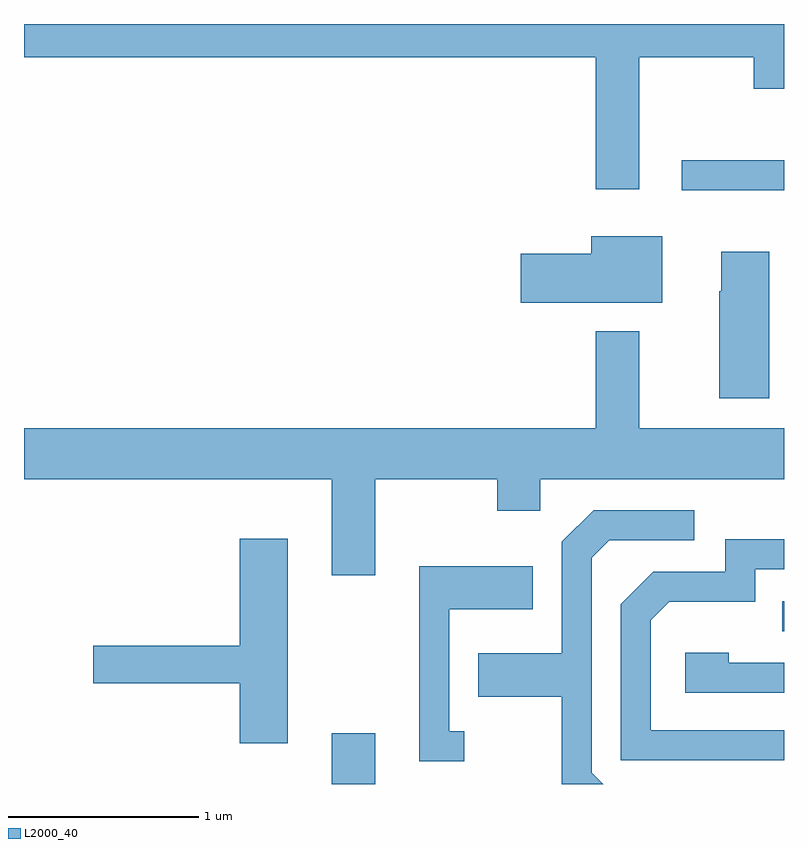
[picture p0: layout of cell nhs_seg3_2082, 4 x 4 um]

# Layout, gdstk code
import gdstk
lib = gdstk.Library(unit=1e-6, precision=1e-09)
def R(c, l, rs):  # rectangles x0, y0, x1, y1
    for r in rs: c.add(gdstk.rectangle(r[:2], r[2:], *l))
def P(c, l, *ps):  # polygons
    for p in ps: c.add(gdstk.Polygon(p, *l))
L2000_40 = (2000, 40)

nhs_seg3_2082 = lib.new_cell('nhs_seg3_2082')
R(nhs_seg3_2082, L2000_40, [(247.231,1199.892,247.459,1200.159), (249.603,1200.696,249.611,1200.854), (249.073,1203.016,249.611,1203.174)])
P(nhs_seg3_2082, L2000_40, [(248.849,1203.716),(249.451,1203.716),(249.451,1203.551),(249.611,1203.551),(249.611,1203.892),(245.611,1203.892),(245.611,1203.716),(248.621,1203.716),(248.621,1203.021),(248.849,1203.021)],
  [(248.969,1202.774),(248.596,1202.774),(248.596,1202.684),(248.226,1202.684),(248.226,1202.426),(248.969,1202.426)],
  [(249.534,1202.694),(249.281,1202.694),(249.281,1202.485),(249.271,1202.485),(249.271,1201.921),(249.534,1201.921)],
  [(247.459,1201.496),(248.101,1201.496),(248.101,1201.331),(248.329,1201.331),(248.329,1201.496),(249.611,1201.496),(249.611,1201.764),(248.849,1201.764),(248.849,1202.274),(248.621,1202.274),(248.621,1201.764),(245.611,1201.764),(245.611,1201.496),(247.231,1201.496),(247.231,1200.991),(247.459,1200.991)],
  [(248.599,1199.952),(248.599,1201.084),(248.692,1201.176),(249.138,1201.176),(249.138,1201.334),(248.609,1201.334),(248.441,1201.167),(248.441,1200.579),(248.001,1200.579),(248.001,1200.351),(248.441,1200.351),(248.441,1199.892),(248.659,1199.892)],
  [(246.999,1201.184),(246.746,1201.184),(246.746,1200.619),(245.976,1200.619),(245.976,1200.421),(246.746,1200.421),(246.746,1200.106),(246.999,1200.106)],
  [(249.611,1200.174),(248.909,1200.174),(248.909,1200.754),(249.007,1200.851),(249.459,1200.851),(249.459,1201.021),(249.611,1201.021),(249.611,1201.179),(249.301,1201.179),(249.301,1201.009),(248.924,1201.009),(248.751,1200.837),(248.751,1200.016),(249.611,1200.016)],
  [(247.928,1200.169),(247.849,1200.169),(247.849,1200.811),(248.289,1200.811),(248.289,1201.039),(247.691,1201.039),(247.691,1200.011),(247.928,1200.011)],
  [(249.611,1200.529),(249.319,1200.529),(249.319,1200.584),(249.091,1200.584),(249.091,1200.371),(249.611,1200.371)])

lib.write_gds('nhs_seg3_2082.gds')
